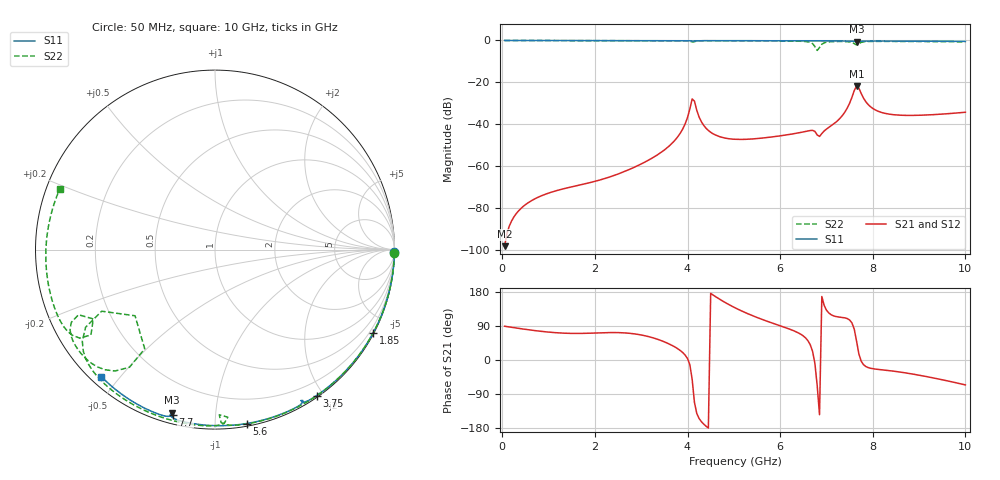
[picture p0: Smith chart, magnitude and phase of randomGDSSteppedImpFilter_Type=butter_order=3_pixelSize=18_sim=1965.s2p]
! freq	dB(S11)	phase(S11)	dB(S12)	phase(S12)
!  dB(S21)	phase(S21)	dB(S22)	phase(S22)
!S-par simulation data
#  GHz  S  DB  R 50
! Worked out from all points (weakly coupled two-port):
!   200 points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, 50 MHz to 10 GHz, reference 50 ohm
!   highest |S21| = -21.68 dB at 7.65 GHz (marker M1); lowest = -98.2 dB at 50 MHz (marker M2)
!   lowest |S11| = -0.5 dB at 7.65 GHz (marker M3), VSWR 31.97, Z = 2.49 - j38.4 ohm
!   |S11| at or under -10 dB: nowhere
!   |S22| runs from -4.8 to 0.0 dB; largest |S21 - S12| = 0
!   S11 on the Smith chart (normalised r, x): 50 MHz: open; 1.85 GHz: 0.04, -4.04; 3.75 GHz: 0.02, -1.91; 5.6 GHz: 0.02, -1.20; 7.7 GHz: 0.04, -0.77; 10 GHz: 0.03, -0.45
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0.05  -0.00 -0.8  -98.18 89.1  -98.18 89.1  -0.00 -1.1
0.4  -0.01 -6.1  -80.24 82.6  -80.24 82.6  -0.01 -8.9
1.75  -0.03 -26.4  -68.60 70.3  -68.60 70.3  -0.05 -38.5
1.85  -0.04 -27.8  -68.08 70.6  -68.08 70.6  -0.05 -40.7
3.4  -0.07 -50.2  -53.86 52.7  -53.86 52.7  -0.10 -73.1
3.75  -0.08 -55.2  -47.05 32.7  -47.05 32.7  -0.12 -80.4
3.95  -0.09 -58.2  -39.75 12.7  -39.75 12.7  -0.15 -85.0
4.1  -0.29 -60.4  -27.90 -51.3  -27.90 -51.3  -0.72 -88.5
4.45  -0.10 -64.4  -42.96 -179.6  -42.96 -179.6  -0.15 -93.1
5.05  -0.11 -72.5  -47.19 136.4  -47.19 136.4  -0.17 -105.2
5.6  -0.13 -79.6  -46.62 107.6  -46.62 107.6  -0.20 -116.2
6.4  -0.17 -89.8  -44.09 71.1  -44.09 71.1  -0.35 -134.5
6.7  -0.18 -93.5  -42.92 22.9  -42.92 22.9  -1.51 -149.0
6.8  -0.19 -94.8  -45.10 -67.8  -45.10 -67.8  -4.76 -140.4
6.85  -0.19 -95.4  -45.80 -144.5  -45.80 -144.5  -3.38 -125.3
6.95  -0.20 -96.6  -43.22 144.2  -43.22 144.2  -1.15 -129.5
7.25  -0.22 -100.4  -38.10 113.7  -38.10 113.7  -0.49 -142.5
7.65  -0.54 -104.9  -21.68 49.8  -21.68 49.8  -2.15 -150.3
7.7  -0.45 -104.4  -22.76 15.9  -22.76 15.9  -1.52 -145.5
7.95  -0.27 -107.9  -31.62 -21.8  -31.62 -21.8  -0.47 -154.2
8.35  -0.29 -112.8  -35.15 -28.0  -35.15 -28.0  -0.44 -163.9
10  -0.45 -131.9  -34.25 -65.8  -34.25 -65.8  -0.64 158.8
